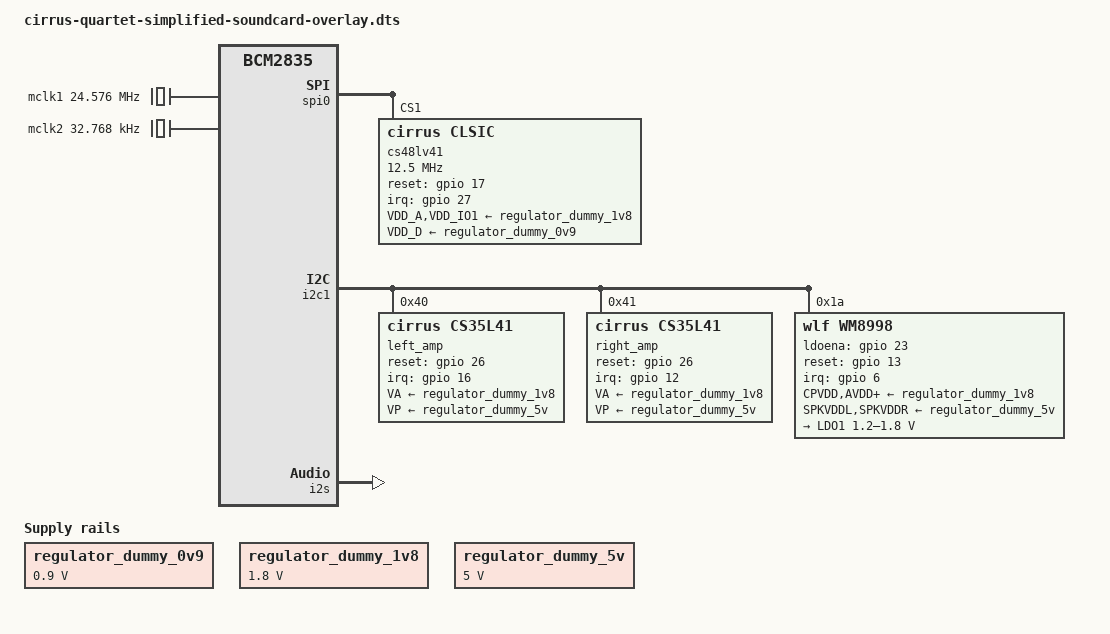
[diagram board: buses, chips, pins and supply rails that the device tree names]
// Definitions for Quartet Soundcard - Simplified implementation
// Please refer to https://www.raspberrypi.org/documentation/configuration/device-tree.md
/dts-v1/;
/plugin/;
#include <dt-bindings/pinctrl/bcm2835.h>
#include <dt-bindings/gpio/gpio.h>
#include <dt-bindings/mfd/arizona.h>

/{
	compatible = "brcm,bcm2835";

	fragment@0 {
		target = <&sound>;
		__overlay__ {
			compatible = "cirrus,quartet-simplified-soundcard";
			i2s-controller = <&i2s>;
			left-amp = <&left_amp>;
			right-amp = <&right_amp>;
			platform-controller = <&cs48lv41_alg>;
			status = "okay";
		};
	};

	fragment@1 {
		target = <&spi0>;
		__overlay__ {
			#address-cells = <1>;
			#size-cells = <0>;
			status = "okay";

			spidev@1{
				status = "disabled";
			};

			cs48lv41: cs48lv41@1{
				#sound-dai-cells = <1>;
				spi-max-frequency = <12500000>;
				spi-pad-bits = <32>;
				compatible = "cirrus,clsic";
				reg = <1>; /* Id of Chip Select on SPI Bus */
				status = "okay";

				interrupts = <27 8>;
				interrupt-controller;
				#interrupt-cells = <2>;
				interrupt-parent = <&gpio>;

				gpio-controller;
				#gpio-cells = <2>;

				VDD_A-supply   =  <&regulator_dummy_1v8>;
				VDD_IO1-supply =  <&regulator_dummy_1v8>;
				VDD_D-supply   =  <&regulator_dummy_0v9>;

				/* 17 is RPI GPIO Number */
				reset-gpio = <&gpio 17 GPIO_ACTIVE_HIGH>;

				volatile_memory;

				pinctrl-names = "default", "active";
				pinctrl-0 = <&ff_pins>;
				pinctrl-1 = <&cs48lv41_defaults>;

				/* Documentation/devicetree/bindings/mfd/tacna.txt */
				cs48lv41_pinctrl: tacna-pinctrl {
					compatible = "cirrus,tacna-pinctrl";

					cs48lv41_defaults: defaults {
						asp1 {
							groups = "asp1";
							function = "asp1";
							bias-bus-hold;
						};
						asp2 {
							groups = "asp2";
							function = "asp2";
							bias-bus-hold;
						};
						asp3 {
							groups = "asp3";
							function = "asp3";
							bias-bus-hold;
						};
						asp4 {
							groups = "asp4";
							function = "asp4";
							bias-bus-hold;
						};
						in1-pdm {
							groups = "in1-pdm";
							function ="in1-pdm";
							bias-bus-hold;
						};
						in2-pdm {
							groups = "in2-pdm";
							function ="in2-pdm";
							bias-bus-hold;
						};
						in3-pdm {
							groups = "in3-pdm";
							function ="in3-pdm";
							bias-bus-hold;
						};
						in4-pdm {
							groups = "in4-pdm";
							function ="in4-pdm";
							bias-bus-hold;
						};
					};
				};

				MICBIAS1A {
					regulator-active-discharge = <1>;
				};

				MICBIAS1B {
					regulator-active-discharge = <1>;
				};

				MICBIAS1C {
					regulator-active-discharge = <1>;
				};

				MICBIAS1D {
					regulator-active-discharge = <1>;
				};

				cs48lv41_alg: cs48lv41_alg@0 {
					compatible = "cirrus,clsic-alg";
					#sound-dai-cells = <1>;
					cirrus,service-type = <0x4C41>;
				};
			};
		};
	};

	fragment@2 {
		target = <&i2c1>;
		__overlay__ {
			#address-cells = <1>;
			#size-cells = <0>;
			status = "okay";

			left_amp: cs35l41@40{
				#sound-dai-cells = <1>;
				compatible = "cirrus,cs35l41";
				reg = <0x40>;
				#interrupt-cells = <2>;
				interrupts = <16 8>;
				interrupt-controller;
				interrupt-parent = <&gpio>;
				VA-supply = <&regulator_dummy_1v8>;
				VP-supply = <&regulator_dummy_5v>;

				cirrus,boost-peak-milliamp = <4500>;
				cirrus,boost-ind-nanohenry = <1000>;
				cirrus,boost-cap-microfarad = <15>;

				gpio-controller;
				#gpio-cells = <2>;

				reset-gpio = <&gpio 26 GPIO_ACTIVE_HIGH>;
				cirrus,gpio-config1 {
					cirrus,gpio-src-select = <0x2>;
				};
				cirrus,gpio-config2 {
					cirrus,gpio-src-select = <0x4>;
					cirrus,gpio-output-enable;
				};
			};

			right_amp: cs35l41@41{
				#sound-dai-cells = <1>;
				compatible = "cirrus,cs35l41";
				reg = <0x41>;
				#interrupt-cells = <2>;
				interrupts = <12 8>;
				interrupt-controller;
				interrupt-parent = <&gpio>;
				VA-supply = <&regulator_dummy_1v8>;
				VP-supply = <&regulator_dummy_5v>;

				cirrus,boost-peak-milliamp = <4500>;
				cirrus,boost-ind-nanohenry = <1000>;
				cirrus,boost-cap-microfarad = <15>;

				gpio-controller;
				#gpio-cells = <2>;

				reset-gpio = <&gpio 26 GPIO_ACTIVE_HIGH>;
				cirrus,right-channel-amp;
				cirrus,gpio-config1 {
					cirrus,gpio-src-select = <0x2>;
				};
				cirrus,gpio-config2 {
					cirrus,gpio-src-select = <0x4>;
					cirrus,gpio-output-enable;
				};
			};

			wm8998: wm8998@1a {
				#sound-dai-cells = <1>;
				compatible = "wlf,wm8998";
				reg = <0x1a>;
				status = "okay";

				interrupts = <6 8>;
				interrupt-controller;
				#interrupt-cells = <2>;
				interrupt-parent = <&gpio>;

				gpio-controller;
				#gpio-cells = <2>;

				clocks = <&mclk1 &mclk2>;
				clock-names = "mclk1", "mclk2";

				wlf,ldoena = <&gpio 23 GPIO_ACTIVE_HIGH>;
				wlf,reset  = <&gpio 13 GPIO_ACTIVE_HIGH>;

				CPVDD-supply = <&regulator_dummy_1v8>;
				AVDD-supply = <&regulator_dummy_1v8>;
				DBVDD1-supply = <&regulator_dummy_1v8>;
				DBVDD2-supply = <&regulator_dummy_1v8>;
				DBVDD3-supply = <&regulator_dummy_1v8>;
				SPKVDDL-supply = <&regulator_dummy_5v>;
				SPKVDDR-supply = <&regulator_dummy_5v>;

				wlf,jd-invert = <1>;
				wlf,inmode   = <0 0 1 0>;
				wlf,dmic-ref = <0 0 0 0>;

				wlf,gpio-defaults = <
					ARIZONA_GP_DEFAULT
					ARIZONA_GP_DEFAULT
					ARIZONA_GP_DEFAULT
					ARIZONA_GP_DEFAULT
					ARIZONA_GP_DEFAULT
				>;

				ldo1 {
					regulator-name = "LDO1";
					// default constraints as in
					// arizona-ldo1.c
					regulator-min-microvolt = <1200000>;
					regulator-max-microvolt = <1800000>;
				};
			};
		};
	};

	fragment@3 {
		target = <&soc>;
		__overlay__ {
			regulator_dummy_0v9: regulator_dummy_0v9 {
				compatible = "regulator-fixed";
				regulator-name = "CDC_VDD_0.9V";
				regulator-min-microvolt = <900000>;
				regulator-max-microvolt = <900000>;
				regulator-boot-on;
				regulator-always-on;
			};
			regulator_dummy_1v8: regulator_dummy_1v8 {
				compatible = "regulator-fixed";
				regulator-name = "CDC_VDD_1.8V";
				regulator-min-microvolt = <1800000>;
				regulator-max-microvolt = <1800000>;
				regulator-boot-on;
				regulator-always-on;
			};
			regulator_dummy_5v: regulator_dummy_5v {
				compatible = "regulator-fixed";
				regulator-name = "CDC_VDD_5V";
				regulator-min-microvolt = <5000000>;
				regulator-max-microvolt = <5000000>;
				regulator-boot-on;
				regulator-always-on;
			};
		};
	};

	fragment@4 {
		target = <&gpio>;
		__overlay__ {
			ff_pins: ff_pins {
				/*FFI_RST_3V3, FF_IRQ_3v3 */
				brcm,pins = <17 27>;
				brcm,function = <
					BCM2835_FSEL_GPIO_OUT
					BCM2835_FSEL_GPIO_IN
				>;
				brcm,pull = <
					BCM2835_PUD_UP
					BCM2835_PUD_OFF
				>;
			};

			amp_pins: amp_pins {
				/*AMP_RST_3v3, AMP_IRQ_L_3v3, AMP_IRQ_R_3v3 */
				brcm,pins = <26 16 12>;
				brcm,function = <
					BCM2835_FSEL_GPIO_OUT
					BCM2835_FSEL_GPIO_IN
					BCM2835_FSEL_GPIO_IN
				>;
				brcm,pull = <
					BCM2835_PUD_UP
					BCM2835_PUD_OFF
					BCM2835_PUD_OFF
				>;
			};

			cdc_pins: cdc_pins {
				/*CDC_RST_3v3, CDC_LDOENA_3v3, CDC_IRQ_3v3 */
				brcm,pins = <13 23 6>;
				brcm,function = <
					BCM2835_FSEL_GPIO_OUT
					BCM2835_FSEL_GPIO_OUT
					BCM2835_FSEL_GPIO_IN
				>;
				brcm,pull = <
					BCM2835_PUD_UP
					BCM2835_PUD_OFF /* Unpop */
					BCM2835_PUD_OFF
				>;
			};

		};
	};

	fragment@5 {
		target = <&clocks>;
		__overlay__ {
			mclk1: mclk1 {
				compatible = "fixed-clock";
				#clock-cells = <0>;
				clock-frequency = <24576000>;
			};

			mclk2: mclk2 {
				compatible = "fixed-clock";
				#clock-cells = <0>;
				clock-frequency = <32768>;
			};
		};
	};

	fragment@6 {
		target = <&i2s>;
		__overlay__ {
			status = "okay";
		};
	};

};
